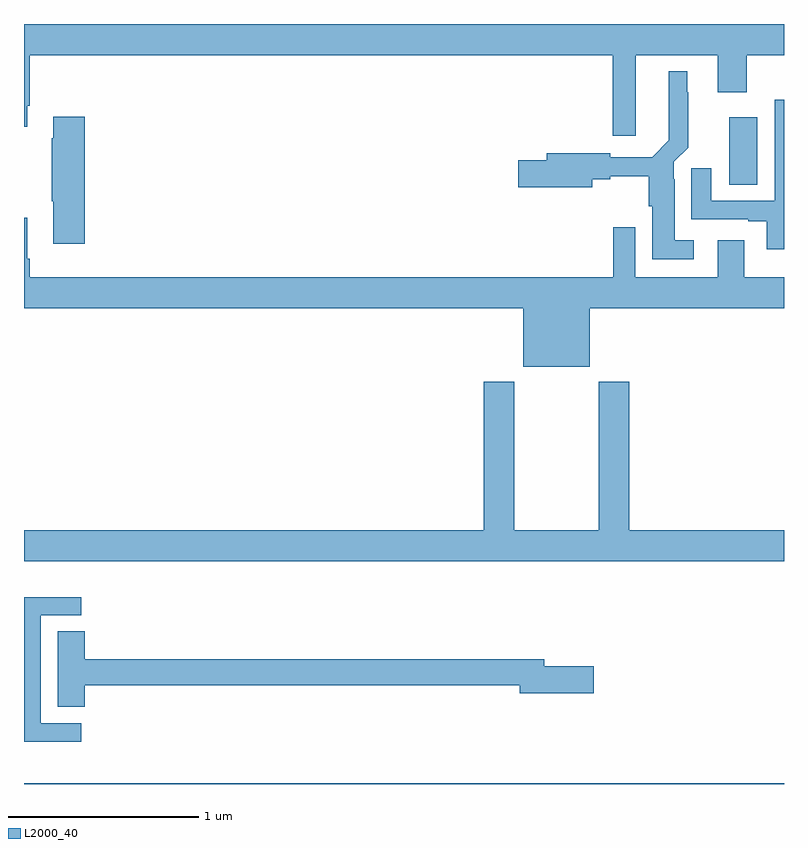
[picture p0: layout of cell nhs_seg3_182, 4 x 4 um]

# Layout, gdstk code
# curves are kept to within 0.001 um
import gdstk
lib = gdstk.Library(unit=1e-6, precision=1e-09)
def R(c, l, rs):  # rectangles x0, y0, x1, y1
    for r in rs: c.add(gdstk.rectangle(r[:2], r[2:], *l))
def P(c, l, *ps):  # polygons
    for p in ps: c.add(gdstk.Polygon(p, *l))
L2000_40 = (2000, 40)

nhs_seg3_182 = lib.new_cell('nhs_seg3_182')
R(nhs_seg3_182, L2000_40, [(119,710.4,123,710.404), (122.711,713.554,122.86,713.908)])
P(nhs_seg3_182, L2000_40, [(122.221,714.236),(122.651,714.236),(122.651,714.042),(122.804,714.042),(122.804,714.236),(123,714.236),(123,714.4),(119,714.4),(119,713.859),(119.017,713.859),(119.017,713.971),(119.03,713.971),(119.03,714.236),(122.099,714.236),(122.099,713.811),(122.221,713.811)],
  [(122.524,713.263),(122.425,713.263),(122.425,713.582),(122.421,713.582),(122.421,713.676),(122.495,713.75),(122.495,714.041),(122.491,714.041),(122.491,714.151),(122.393,714.151),(122.394,713.788),(122.306,713.7),(122.086,713.7),(122.086,713.72),(121.751,713.72),(121.751,713.684),(121.602,713.684),(121.602,713.542),(121.99,713.542),(121.99,713.584),(122.086,713.584),(122.086,713.599),(122.288,713.599),(122.288,713.442),(122.306,713.442),(122.306,713.162),(122.524,713.162)],
  [(123,714.001),(122.951,714.001),(122.951,713.469),(122.617,713.469),(122.617,713.641),(122.513,713.641),(122.513,713.373),(122.813,713.373),(122.813,713.361),(122.909,713.361),(122.909,713.214),(123,713.214)],
  [(119.321,713.911),(119.153,713.911),(119.153,713.798),(119.146,713.798),(119.146,713.467),(119.153,713.467),(119.153,713.244),(119.321,713.244)],
  [(121.978,712.904),(123,712.904),(123,713.068),(122.791,713.068),(122.791,713.263),(122.651,713.263),(122.651,713.068),(122.217,713.068),(122.217,713.329),(122.101,713.329),(122.101,713.068),(119.03,713.068),(119.03,713.164),(119.017,713.164),(119.017,713.38),(119,713.38),(119,712.904),(121.628,712.904),(121.628,712.595),(121.978,712.595)],
  [(123,711.736),(122.186,711.736),(122.186,712.516),(122.026,712.516),(122.026,711.736),(121.581,711.736),(121.581,712.516),(121.421,712.516),(121.421,711.736),(119,711.736),(119,711.572),(123,711.572)],
  [(119.302,710.721),(119.088,710.721),(119.088,711.288),(119.302,711.288),(119.302,711.384),(119,711.384),(119,710.623),(119.302,710.623)],
  [(119.321,710.92),(121.61,710.92),(121.61,710.878),(121.999,710.878),(121.999,711.02),(121.738,711.02),(121.738,711.056),(119.321,711.056),(119.321,711.203),(119.177,711.203),(119.177,710.806),(119.321,710.806)])

lib.write_gds('nhs_seg3_182.gds')
